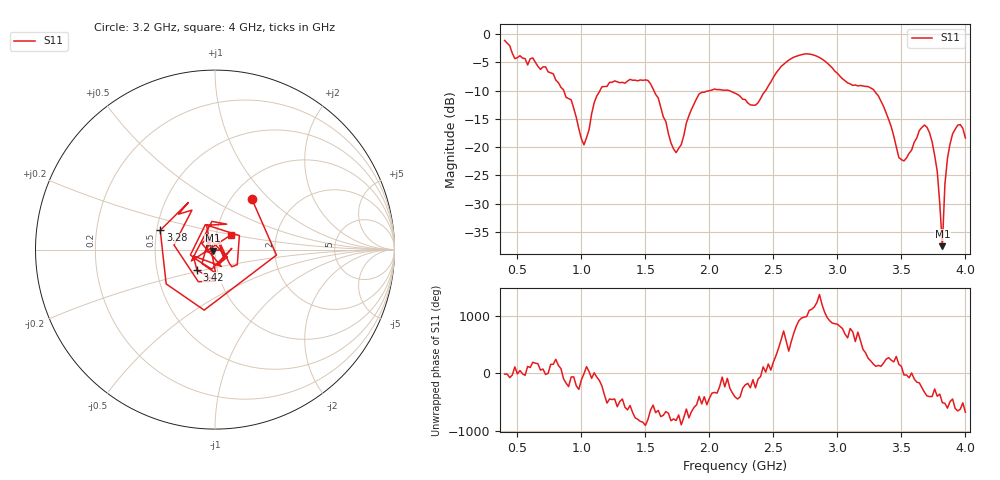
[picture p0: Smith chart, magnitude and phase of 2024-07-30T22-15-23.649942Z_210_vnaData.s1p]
!Created with skrf (http://scikit-rf.org).
# Hz S RI R 50.0
!freq ReS11 ImS11
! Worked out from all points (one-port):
!   181 points, 400 MHz to 4 GHz, reference 50 ohm
!   lowest |S11| = -37.5 dB at 3.82 GHz (marker M1), VSWR 1.03, Z = 48.8 - j0.627 ohm
!   |S11| at or under -10 dB: 1.566 GHz to 2.006 GHz (439.9 MHz wide, 24.6 % of centre); 2.151 GHz to 2.44 GHz (289.2 MHz wide, 12.6 % of centre); 3.286 GHz to end of sweep (the widest 3 of 4)
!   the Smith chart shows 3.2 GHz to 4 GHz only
!   S11 on the Smith chart (normalised r, x): 3.2 GHz: 1.24, +0.79; 3.28 GHz: 0.52, +0.13; 3.42 GHz: 0.80, -0.19; 4 GHz: 1.18, +0.19
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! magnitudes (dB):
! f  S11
! 400 MHz  -1.2
! 860 MHz  -9.9
! 920 MHz  -11.6
! 1.02 GHz  -19.6
! 1.16 GHz  -9.4
! 1.3 GHz  -8.6
! 1.52 GHz  -8.2
! 1.72 GHz  -20.3
! 1.76 GHz  -20.2
! 1.92 GHz  -10.6
! 2.2 GHz  -10.5
! 2.36 GHz  -12.6
! 2.66 GHz  -4.1
! 2.84 GHz  -4.0
! 3.1 GHz  -8.8
! 3.2 GHz  -9.2
! 3.28 GHz  -9.8
! 3.42 GHz  -16.4
! 3.48 GHz  -21.8
! 3.56 GHz  -21.1
! 3.66 GHz  -16.5
! 3.72 GHz  -17.5
! 3.78 GHz  -24.3
! 3.82 GHz  -37.5
! 3.84 GHz  -26.6
! 3.88 GHz  -19.5
! 3.94 GHz  -16.1
! 4 GHz  -18.4
